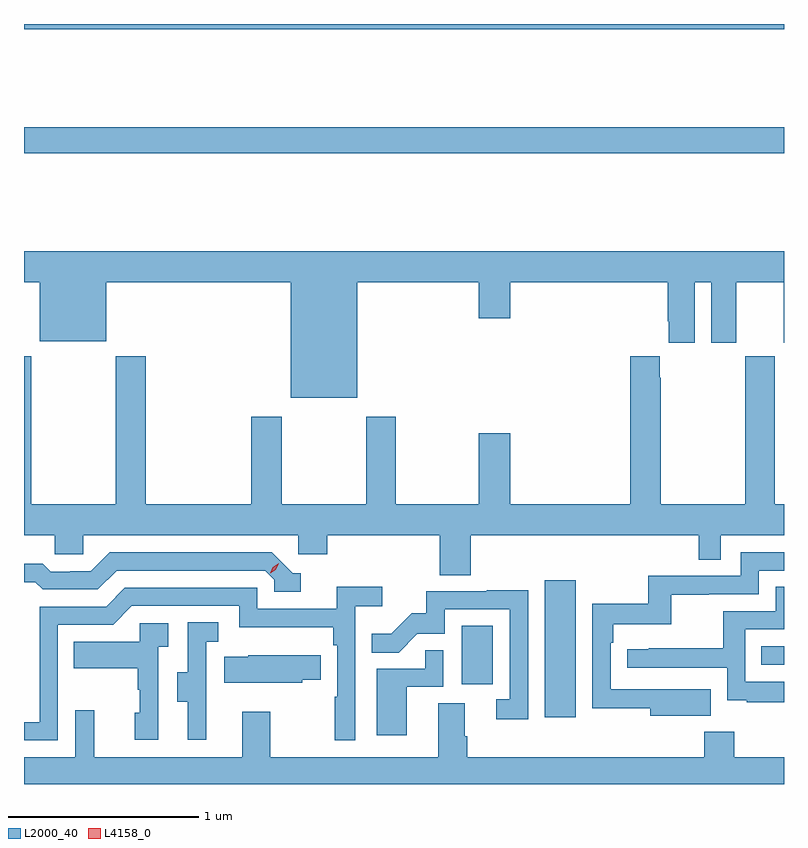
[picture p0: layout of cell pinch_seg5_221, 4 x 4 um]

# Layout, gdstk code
import gdstk
lib = gdstk.Library(unit=1e-6, precision=1e-09)
def R(c, l, rs):  # rectangles x0, y0, x1, y1
    for r in rs: c.add(gdstk.rectangle(r[:2], r[2:], *l))
def P(c, l, *ps):  # polygons
    for p in ps: c.add(gdstk.Polygon(p, *l))
L2000_40 = (2000, 40)
L4158_0 = (4158, 0)

pinch_seg5_221 = lib.new_cell('pinch_seg5_221')
R(pinch_seg5_221, L2000_40, [(980.54,907.752,980.701,908.473), (980.102,907.926,980.266,908.233), (981.679,908.028,981.798,908.124), (977.798,910.72,981.798,910.856), (977.798,911.372,981.798,911.4)])
P(pinch_seg5_221, L2000_40, [(977.798,910.04),(977.882,910.04),(977.882,909.731),(978.232,909.731),(978.232,910.04),(979.202,910.04),(979.202,909.434),(979.552,909.434),(979.552,910.04),(980.192,910.04),(980.192,909.852),(980.356,909.852),(980.356,910.04),(981.185,910.04),(981.185,909.835),(981.191,909.835),(981.191,909.723),(981.328,909.723),(981.328,910.04),(981.416,910.04),(981.416,909.723),(981.547,909.723),(981.547,910.04),(981.797,910.04),(981.797,909.723),(981.798,909.723),(981.798,910.204),(977.798,910.204)],
  [(980.15,908.708),(981.349,908.708),(981.349,908.581),(981.465,908.581),(981.465,908.708),(981.798,908.708),(981.798,908.872),(981.75,908.872),(981.75,909.652),(981.595,909.652),(981.595,908.872),(981.15,908.872),(981.15,909.539),(981.145,909.539),(981.145,909.652),(980.99,909.652),(980.99,908.872),(980.356,908.872),(980.356,909.247),(980.192,909.247),(980.192,908.872),(979.755,908.872),(979.755,909.334),(979.6,909.334),(979.6,908.872),(979.155,908.872),(979.155,909.334),(978.995,909.334),(978.995,908.872),(978.44,908.872),(978.44,909.652),(978.28,909.652),(978.28,908.872),(977.835,908.872),(977.835,909.652),(977.798,909.652),(977.798,908.708),(977.961,908.708),(977.961,908.61),(978.111,908.61),(978.111,908.708),(979.242,908.708),(979.242,908.61),(979.394,908.61),(979.394,908.708),(979.985,908.708),(979.985,908.5),(980.15,908.5)],
  [(979.255,908.508),(979.212,908.508),(979.101,908.619),(978.248,908.619),(978.149,908.52),(978.042,908.52),(978.042,908.517),(977.939,908.517),(977.897,908.56),(977.798,908.56),(977.798,908.463),(977.858,908.463),(977.897,908.424),(978.186,908.424),(978.285,908.523),(979.068,908.523),(979.116,908.475),(979.116,908.412),(979.255,908.412)],
  [(981.413,907.9),(981.199,907.9),(981.199,907.899),(980.886,907.899),(980.886,908.144),(980.9,908.144),(980.9,908.24),(981.205,908.24),(981.205,908.395),(981.401,908.395),(981.401,908.4),(981.666,908.4),(981.666,908.523),(981.798,908.523),(981.798,908.619),(981.57,908.619),(981.57,908.496),(981.084,908.496),(981.084,908.35),(980.79,908.35),(980.79,907.798),(981.095,907.798),(981.095,907.76),(981.413,907.76)],
  [(981.798,907.938),(981.594,907.938),(981.594,908.214),(981.798,908.214),(981.798,908.438),(981.755,908.438),(981.755,908.31),(981.478,908.31),(981.478,908.114),(981.085,908.114),(981.085,908.109),(980.973,908.109),(980.973,908.013),(981.498,908.013),(981.498,907.841),(981.601,907.841),(981.601,907.83),(981.798,907.83)],
  [(977.976,908.238),(978.267,908.238),(978.366,908.337),(978.93,908.337),(978.93,908.225),(979.426,908.225),(979.426,908.129),(979.446,908.129),(979.446,907.859),(979.434,907.859),(979.434,907.629),(979.542,907.629),(979.542,908.336),(979.684,908.336),(979.684,908.438),(979.445,908.438),(979.445,908.322),(979.026,908.322),(979.026,908.433),(978.329,908.433),(978.23,908.334),(977.88,908.334),(977.88,907.725),(977.798,907.725),(977.798,907.629),(977.976,907.629)],
  [(980.451,908.42),(980.233,908.42),(980.233,908.415),(979.915,908.415),(979.915,908.298),(979.838,908.298),(979.731,908.191),(979.627,908.191),(979.627,908.092),(979.771,908.092),(979.869,908.19),(980.013,908.19),(980.013,908.319),(980.355,908.319),(980.355,907.845),(980.283,907.845),(980.283,907.74),(980.451,907.74)],
  [(978.758,907.845),(978.756,907.845),(978.756,908.149),(978.82,908.149),(978.82,908.252),(978.66,908.252),(978.66,907.989),(978.605,907.989),(978.605,907.834),(978.659,907.834),(978.659,907.632),(978.758,907.632)],
  [(978.504,908.123),(978.556,908.123),(978.556,908.247),(978.408,908.247),(978.408,908.149),(978.061,908.149),(978.061,908.009),(978.396,908.009),(978.396,907.895),(978.406,907.895),(978.406,907.776),(978.38,907.776),(978.38,907.632),(978.504,907.632)],
  [(979.813,907.911),(980.004,907.911),(980.004,908.105),(979.909,908.105),(979.909,908.007),(979.655,908.007),(979.655,907.656),(979.813,907.656)],
  [(979.263,907.948),(979.361,907.948),(979.361,908.077),(978.978,908.077),(978.978,908.071),(978.853,908.071),(978.853,907.934),(979.263,907.934)],
  [(981.798,907.54),(981.537,907.54),(981.537,907.675),(981.377,907.675),(981.377,907.54),(980.132,907.54),(980.132,907.652),(980.119,907.652),(980.119,907.826),(979.979,907.826),(979.979,907.54),(979.095,907.54),(979.095,907.78),(978.947,907.78),(978.947,907.54),(978.167,907.54),(978.167,907.789),(978.069,907.789),(978.069,907.54),(977.798,907.54),(977.798,907.4),(981.798,907.4)])
P(pinch_seg5_221, L4158_0, [(979.093,908.508),(979.093,908.509),(979.108,908.541),(979.138,908.561),(979.139,908.561),(979.139,908.561),(979.123,908.528),(979.093,908.508)])

lib.write_gds('pinch_seg5_221.gds')
